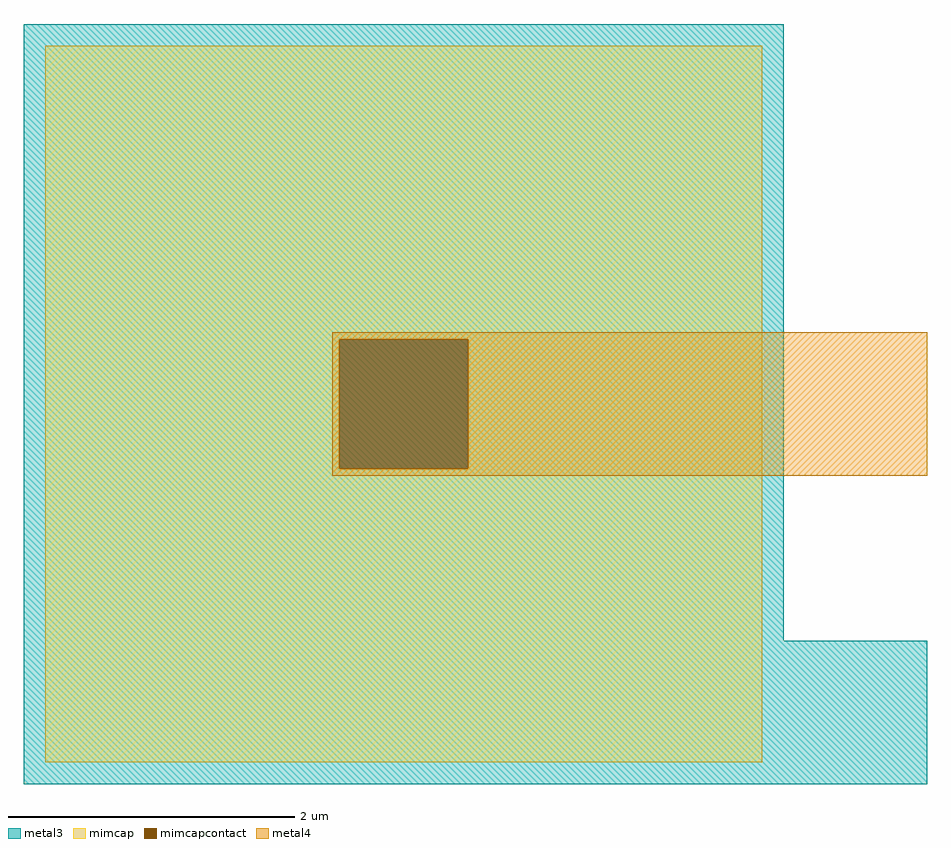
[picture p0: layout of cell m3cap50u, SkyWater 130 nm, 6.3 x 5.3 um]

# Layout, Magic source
magic
tech sky130A
<< metal3 >>
rect -115 85 415 515
rect -115 -15 515 85
<< mimcap >>
rect -100 295 400 500
rect -100 205 105 295
rect 195 205 400 295
rect -100 0 400 205
<< mimcapcontact >>
rect 105 205 195 295
<< metal4 >>
rect 100 295 515 300
rect 100 205 105 295
rect 195 205 515 295
rect 100 200 515 205
<< end >>
